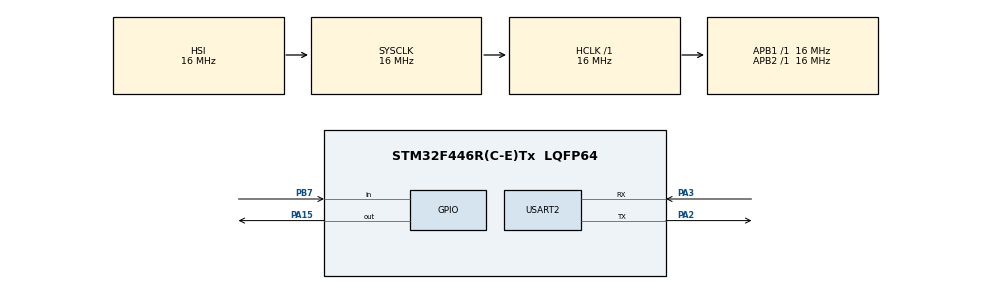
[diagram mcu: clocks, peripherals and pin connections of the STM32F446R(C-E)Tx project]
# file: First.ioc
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Mcu.Family=STM32F4
Mcu.Name=STM32F446R(C-E)Tx
Mcu.Package=LQFP64
NVIC.PriorityGroup=NVIC_PRIORITYGROUP_4
PA15.Signal=GPIO_Output
PA2.Mode=Asynchronous
PA2.Signal=USART2_TX
PA3.Mode=Asynchronous
PA3.Signal=USART2_RX
PB7.Signal=GPIO_Input
ProjectManager.HeapSize=0x200
ProjectManager.StackSize=0x400
ProjectManager.TargetToolchain=STM32CubeIDE
RCC.AHBFreq_Value=16000000
RCC.APB1Freq_Value=16000000
RCC.APB1TimFreq_Value=16000000
RCC.APB2Freq_Value=16000000
RCC.APB2TimFreq_Value=16000000
RCC.CortexFreq_Value=16000000
RCC.HCLKFreq_Value=16000000
RCC.PLLM=14
RCC.PLLN=56
RCC.PLLP=RCC_PLLP_DIV8
RCC.SYSCLKFreq_VALUE=16000000
RCC.USBFreq_Value=32000000.000000004
RCC.VCOOutputFreq_Value=64000000.00000001
TIM2.Prescaler=15
USART2.VirtualMode=VM_ASYNC
VP_TIM2_VS_ClockSourceINT.Mode=Internal
VP_TIM6_VS_ClockSourceINT.Mode=Enable_Timer
board=custom

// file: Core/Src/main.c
/* USER CODE BEGIN Header */
/**
  ******************************************************************************
  * @file           : main.c
  * @brief          : Main program body
  ******************************************************************************
  * @attention
  *
  * Copyright (c) 2026 STMicroelectronics.
  * All rights reserved.
  *
  * This software is licensed under terms that can be found in the LICENSE file
  * in the root directory of this software component.
  * If no LICENSE file comes with this software, it is provided AS-IS.
  *
  ******************************************************************************
  */
/* USER CODE END Header */
#include "main.h"

/* USER CODE BEGIN Includes */
#include <stdio.h>
#include <string.h>
/* USER CODE END Includes */

/* USER CODE END Includes */

TIM_HandleTypeDef htim2;
TIM_HandleTypeDef htim6;

UART_HandleTypeDef huart2;

/* USER CODE BEGIN PV */
static void delay_us(uint16_t us);
static int32_t HX711_ReadRaw(void);
static void uart_print(const char *s);

static char buf[64];
static int32_t raw;

/* USER CODE END PV */

void SystemClock_Config(void);
static void MX_GPIO_Init(void);
static void MX_TIM2_Init(void);
static void MX_USART2_UART_Init(void);
static void MX_TIM6_Init(void);

/* USER CODE BEGIN 0 */

static void delay_us(uint16_t us) {
	__HAL_TIM_SET_COUNTER(&htim2, 0);
	while (__HAL_TIM_GET_COUNTER(&htim2) <us)
	{}
}

static void uart_print(const char *s) {
	HAL_UART_Transmit(&huart2, (uint8_t*)s, strlen(s), 100);
}

static int32_t HX711_ReadRaw(void)
{
  uint32_t data = 0;
  uint32_t timeout = HAL_GetTick();

  while (HAL_GPIO_ReadPin(GPIOB, GPIO_PIN_7) == GPIO_PIN_SET) {
    if ((HAL_GetTick() - timeout) > 500)
      return 0;
  }

  for (int i = 0; i < 24; i++) {
    HAL_GPIO_WritePin(GPIOA, GPIO_PIN_15, GPIO_PIN_SET);
    delay_us(2);

    data <<= 1;

    HAL_GPIO_WritePin(GPIOA, GPIO_PIN_15, GPIO_PIN_RESET);
    delay_us(2);

    if (HAL_GPIO_ReadPin(GPIOB, GPIO_PIN_7) == GPIO_PIN_SET)
    	data |= 1;
  }

  HAL_GPIO_WritePin(GPIOA, GPIO_PIN_15, GPIO_PIN_SET);
  delay_us(2);
  HAL_GPIO_WritePin(GPIOA, GPIO_PIN_15, GPIO_PIN_RESET);
  delay_us(2);

  if (data & 0x800000)
	  data |= 0xFF000000;

  return (int32_t)data;

}

/* USER CODE END 0 */

int main(void)
{

  /* MCU Configuration--------------------------------------------------------*/

  /* Reset of all peripherals, Initializes the Flash interface and the Systick. */
  HAL_Init();

  /* Configure the system clock */
  SystemClock_Config();

  /* Initialize all configured peripherals */
  MX_GPIO_Init();
  MX_TIM2_Init();
  MX_USART2_UART_Init();
  MX_TIM6_Init();
  /* USER CODE BEGIN 2 */

  HAL_TIM_Base_Start(&htim2);
  uart_print("H711 start\r\n");

  /* USER CODE END 2 */

  /* Infinite loop */
  while (1)
  {

    /* USER CODE BEGIN 3 */
    raw = HX711_ReadRaw();
    snprintf(buf, sizeof(buf), "raw = %ld\r\n", (long)raw);
    uart_print(buf);
    HAL_Delay(500);
  }

  /* USER CODE END 3 */
}

void SystemClock_Config(void)
{
  RCC_OscInitTypeDef RCC_OscInitStruct = {0};
  RCC_ClkInitTypeDef RCC_ClkInitStruct = {0};

  /** Configure the main internal regulator output voltage
  */
  __HAL_RCC_PWR_CLK_ENABLE();
  __HAL_PWR_VOLTAGESCALING_CONFIG(PWR_REGULATOR_VOLTAGE_SCALE3);

  /** Initializes the RCC Oscillators according to the specified parameters
  * in the RCC_OscInitTypeDef structure.
  */
  RCC_OscInitStruct.OscillatorType = RCC_OSCILLATORTYPE_HSI;
  RCC_OscInitStruct.HSIState = RCC_HSI_ON;
  RCC_OscInitStruct.HSICalibrationValue = RCC_HSICALIBRATION_DEFAULT;
  RCC_OscInitStruct.PLL.PLLState = RCC_PLL_NONE;
  if (HAL_RCC_OscConfig(&RCC_OscInitStruct) != HAL_OK)
  {
    Error_Handler();
  }

  /** Initializes the CPU, AHB and APB buses clocks
  */
  RCC_ClkInitStruct.ClockType = RCC_CLOCKTYPE_HCLK|RCC_CLOCKTYPE_SYSCLK
                              |RCC_CLOCKTYPE_PCLK1|RCC_CLOCKTYPE_PCLK2;
  RCC_ClkInitStruct.SYSCLKSource = RCC_SYSCLKSOURCE_HSI;
  RCC_ClkInitStruct.AHBCLKDivider = RCC_SYSCLK_DIV1;
  RCC_ClkInitStruct.APB1CLKDivider = RCC_HCLK_DIV1;
  RCC_ClkInitStruct.APB2CLKDivider = RCC_HCLK_DIV1;

  if (HAL_RCC_ClockConfig(&RCC_ClkInitStruct, FLASH_LATENCY_0) != HAL_OK)
  {
    Error_Handler();
  }
}

static void MX_TIM2_Init(void)
{

  TIM_ClockConfigTypeDef sClockSourceConfig = {0};
  TIM_MasterConfigTypeDef sMasterConfig = {0};

  htim2.Instance = TIM2;
  htim2.Init.Prescaler = 15;
  htim2.Init.CounterMode = TIM_COUNTERMODE_UP;
  htim2.Init.Period = 4294967295;
  htim2.Init.ClockDivision = TIM_CLOCKDIVISION_DIV1;
  htim2.Init.AutoReloadPreload = TIM_AUTORELOAD_PRELOAD_DISABLE;
  if (HAL_TIM_Base_Init(&htim2) != HAL_OK)
  {
    Error_Handler();
  }
  sClockSourceConfig.ClockSource = TIM_CLOCKSOURCE_INTERNAL;
  if (HAL_TIM_ConfigClockSource(&htim2, &sClockSourceConfig) != HAL_OK)
  {
    Error_Handler();
  }
  sMasterConfig.MasterOutputTrigger = TIM_TRGO_RESET;
  sMasterConfig.MasterSlaveMode = TIM_MASTERSLAVEMODE_DISABLE;
  if (HAL_TIMEx_MasterConfigSynchronization(&htim2, &sMasterConfig) != HAL_OK)
  {
    Error_Handler();
  }

}

static void MX_TIM6_Init(void)
{

  TIM_MasterConfigTypeDef sMasterConfig = {0};

  htim6.Instance = TIM6;
  htim6.Init.Prescaler = 0;
  htim6.Init.CounterMode = TIM_COUNTERMODE_UP;
  htim6.Init.Period = 65535;
  htim6.Init.AutoReloadPreload = TIM_AUTORELOAD_PRELOAD_DISABLE;
  if (HAL_TIM_Base_Init(&htim6) != HAL_OK)
  {
    Error_Handler();
  }
  sMasterConfig.MasterOutputTrigger = TIM_TRGO_RESET;
  sMasterConfig.MasterSlaveMode = TIM_MASTERSLAVEMODE_DISABLE;
  if (HAL_TIMEx_MasterConfigSynchronization(&htim6, &sMasterConfig) != HAL_OK)
  {
    Error_Handler();
  }

}

static void MX_USART2_UART_Init(void)
{

  huart2.Instance = USART2;
  huart2.Init.BaudRate = 115200;
  huart2.Init.WordLength = UART_WORDLENGTH_8B;
  huart2.Init.StopBits = UART_STOPBITS_1;
  huart2.Init.Parity = UART_PARITY_NONE;
  huart2.Init.Mode = UART_MODE_TX_RX;
  huart2.Init.HwFlowCtl = UART_HWCONTROL_NONE;
  huart2.Init.OverSampling = UART_OVERSAMPLING_16;
  if (HAL_UART_Init(&huart2) != HAL_OK)
  {
    Error_Handler();
  }

}

static void MX_GPIO_Init(void)
{
  GPIO_InitTypeDef GPIO_InitStruct = {0};

  /* GPIO Ports Clock Enable */
  __HAL_RCC_GPIOA_CLK_ENABLE();
  __HAL_RCC_GPIOB_CLK_ENABLE();

  /*Configure GPIO pin Output Level */
  HAL_GPIO_WritePin(GPIOA, GPIO_PIN_15, GPIO_PIN_RESET);

  /*Configure GPIO pin : PA15 */
  GPIO_InitStruct.Pin = GPIO_PIN_15;
  GPIO_InitStruct.Mode = GPIO_MODE_OUTPUT_PP;
  GPIO_InitStruct.Pull = GPIO_NOPULL;
  GPIO_InitStruct.Speed = GPIO_SPEED_FREQ_LOW;
  HAL_GPIO_Init(GPIOA, &GPIO_InitStruct);

  /*Configure GPIO pin : PB7 */
  GPIO_InitStruct.Pin = GPIO_PIN_7;
  GPIO_InitStruct.Mode = GPIO_MODE_INPUT;
  GPIO_InitStruct.Pull = GPIO_NOPULL;
  HAL_GPIO_Init(GPIOB, &GPIO_InitStruct);

}

void Error_Handler(void)
{
  __disable_irq();
  while (1)
  {
  }
}
